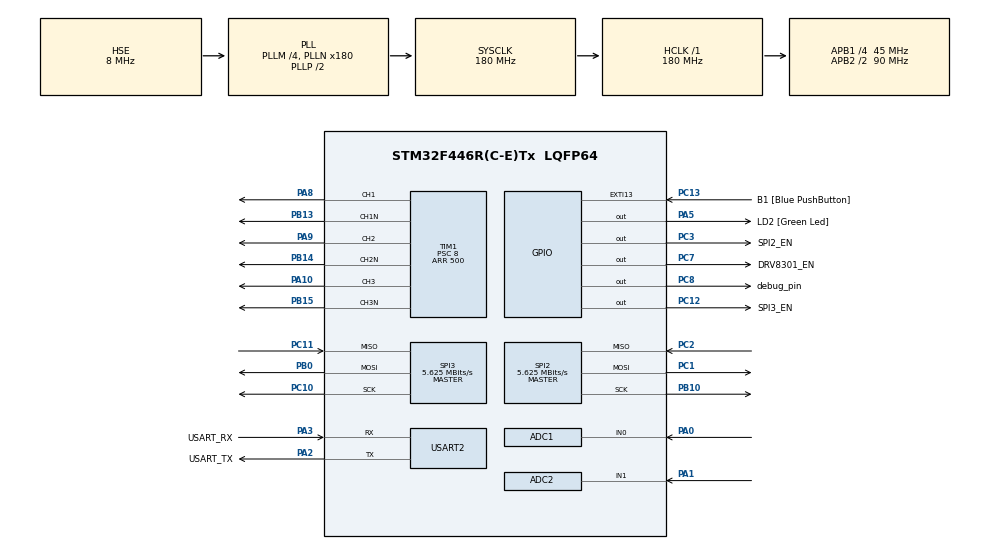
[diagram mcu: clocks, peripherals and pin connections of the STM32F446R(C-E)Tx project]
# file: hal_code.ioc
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ADC1.Channel-0\#ChannelRegularConversion=ADC_CHANNEL_0
ADC1.Mode=ADC_DUALMODE_REGSIMULT
ADC1.NbrOfConversionFlag=1
ADC1.Rank-0\#ChannelRegularConversion=1
ADC1.SamplingTime-0\#ChannelRegularConversion=ADC_SAMPLETIME_15CYCLES
ADC1.master=1
ADC2.Channel-0\#ChannelRegularConversion=ADC_CHANNEL_1
ADC2.Mode=ADC_DUALMODE_REGSIMULT
ADC2.NbrOfConversionFlag=1
ADC2.Rank-0\#ChannelRegularConversion=1
ADC2.SamplingTime-0\#ChannelRegularConversion=ADC_SAMPLETIME_15CYCLES
Mcu.Family=STM32F4
Mcu.Name=STM32F446R(C-E)Tx
Mcu.Package=LQFP64
NVIC.PriorityGroup=NVIC_PRIORITYGROUP_4
NVIC.TIM1_UP_TIM10_IRQn=true\:0\:0\:false\:false\:true\:true\:true
NVIC.TIM3_IRQn=true\:1\:0\:true\:false\:true\:true\:true
NVIC.USART2_IRQn=true\:3\:0\:true\:false\:true\:true\:true
PA0-WKUP.Signal=ADCx_IN0
PA1.Signal=ADCx_IN1
PA10.Signal=S_TIM1_CH3
PA13.GPIO_Label=TMS
PA13.Mode=Serial_Wire
PA13.Signal=SYS_JTMS-SWDIO
PA14.GPIO_Label=TCK
PA14.Mode=Serial_Wire
PA14.Signal=SYS_JTCK-SWCLK
PA2.GPIO_Label=USART_TX
PA2.Mode=Asynchronous
PA2.Signal=USART2_TX
PA3.GPIO_Label=USART_RX
PA3.Mode=Asynchronous
PA3.Signal=USART2_RX
PA5.GPIO_Label=LD2 [Green Led]
PA5.Signal=GPIO_Output
PA8.Signal=S_TIM1_CH1
PA9.Signal=S_TIM1_CH2
PB0.Mode=Full_Duplex_Master
PB0.Signal=SPI3_MOSI
PB10.Mode=Full_Duplex_Master
PB10.Signal=SPI2_SCK
PB13.Mode=PWM Generation1 CH1 CH1N
PB13.Signal=TIM1_CH1N
PB14.Mode=PWM Generation2 CH2 CH2N
PB14.Signal=TIM1_CH2N
PB15.Mode=PWM Generation3 CH3 CH3N
PB15.Signal=TIM1_CH3N
PB3.GPIO_Label=SWO
PB3.Signal=SYS_JTDO-SWO
PC1.Mode=Full_Duplex_Master
PC1.Signal=SPI2_MOSI
PC10.Mode=Full_Duplex_Master
PC10.Signal=SPI3_SCK
PC11.Mode=Full_Duplex_Master
PC11.Signal=SPI3_MISO
PC12.GPIO_Label=SPI3_EN
PC12.Signal=GPIO_Output
PC13.GPIO_Label=B1 [Blue PushButton]
PC13.GPIO_ModeDefaultEXTI=GPIO_MODE_IT_FALLING
PC13.Signal=GPXTI13
PC14-OSC32_IN.Mode=LSE-External-Oscillator
PC14-OSC32_IN.Signal=RCC_OSC32_IN
PC15-OSC32_OUT.Mode=LSE-External-Oscillator
PC15-OSC32_OUT.Signal=RCC_OSC32_OUT
PC2.Mode=Full_Duplex_Master
PC2.Signal=SPI2_MISO
PC3.GPIO_Label=SPI2_EN
PC3.Signal=GPIO_Output
PC7.GPIO_Label=DRV8301_EN
PC7.Signal=GPIO_Output
PC8.GPIO_Label=debug_pin
PC8.Signal=GPIO_Output
PH0-OSC_IN.Mode=HSE-External-Oscillator
PH0-OSC_IN.Signal=RCC_OSC_IN
PH1-OSC_OUT.Mode=HSE-External-Oscillator
PH1-OSC_OUT.Signal=RCC_OSC_OUT
ProjectManager.HeapSize=0x200
ProjectManager.StackSize=0x400
ProjectManager.TargetToolchain=Other Toolchains (GPDSC)
RCC.48MHZClocksFreq_Value=84000000
RCC.AHBFreq_Value=180000000
RCC.APB1CLKDivider=RCC_HCLK_DIV4
RCC.APB1Freq_Value=45000000
RCC.APB1TimFreq_Value=90000000
RCC.APB2CLKDivider=RCC_HCLK_DIV2
RCC.APB2Freq_Value=90000000
RCC.APB2TimFreq_Value=180000000
RCC.CortexFreq_Value=180000000
RCC.FLatency-AdvancedSettings=FLASH_LATENCY_5
RCC.HCLKFreq_Value=180000000
RCC.HSE_VALUE=8000000
RCC.HSI_VALUE=16000000
RCC.PLLM=4
RCC.PLLN=180
RCC.PLLSourceVirtual=RCC_PLLSOURCE_HSE
RCC.SYSCLKFreq_VALUE=180000000
RCC.SYSCLKSource=RCC_SYSCLKSOURCE_PLLCLK
RCC.USBFreq_Value=180000000
RCC.VCOOutputFreq_Value=360000000
SH.ADCx_IN0.0=ADC1_IN0,IN0
SH.ADCx_IN1.0=ADC2_IN1,IN1
SH.S_TIM1_CH1.0=TIM1_CH1,PWM Generation1 CH1 CH1N
SH.S_TIM1_CH2.0=TIM1_CH2,PWM Generation2 CH2 CH2N
SH.S_TIM1_CH3.0=TIM1_CH3,PWM Generation3 CH3 CH3N
SPI2.BaudRatePrescaler=SPI_BAUDRATEPRESCALER_8
SPI2.CLKPhase=SPI_PHASE_2EDGE
SPI2.CalculateBaudRate=5.625 MBits/s
SPI2.DataSize=SPI_DATASIZE_16BIT
SPI2.Direction=SPI_DIRECTION_2LINES
SPI2.Mode=SPI_MODE_MASTER
SPI2.VirtualType=VM_MASTER
SPI3.BaudRatePrescaler=SPI_BAUDRATEPRESCALER_8
SPI3.CLKPhase=SPI_PHASE_2EDGE
SPI3.CalculateBaudRate=5.625 MBits/s
SPI3.DataSize=SPI_DATASIZE_16BIT
SPI3.Direction=SPI_DIRECTION_2LINES
SPI3.Mode=SPI_MODE_MASTER
SPI3.VirtualType=VM_MASTER
TIM1.AutomaticOutput=TIM_AUTOMATICOUTPUT_DISABLE
TIM1.Channel-PWM\ Generation1\ CH1\ CH1N=TIM_CHANNEL_1
TIM1.Channel-PWM\ Generation2\ CH2\ CH2N=TIM_CHANNEL_2
TIM1.Channel-PWM\ Generation3\ CH3\ CH3N=TIM_CHANNEL_3
TIM1.CounterMode=TIM_COUNTERMODE_CENTERALIGNED2
TIM1.DeadTime=10
TIM1.LockLevel=TIM_LOCKLEVEL_OFF
TIM1.OCMode_PWM-PWM\ Generation1\ CH1\ CH1N=TIM_OCMODE_PWM2
TIM1.OCMode_PWM-PWM\ Generation2\ CH2\ CH2N=TIM_OCMODE_PWM2
TIM1.OCMode_PWM-PWM\ Generation3\ CH3\ CH3N=TIM_OCMODE_PWM2
TIM1.OCNPolarity_1=TIM_OCNPOLARITY_HIGH
TIM1.OCNPolarity_2=TIM_OCNPOLARITY_HIGH
TIM1.OCNPolarity_3=TIM_OCNPOLARITY_HIGH
TIM1.OCPolarity_1=TIM_OCPOLARITY_HIGH
TIM1.OCPolarity_2=TIM_OCPOLARITY_HIGH
TIM1.OCPolarity_3=TIM_OCPOLARITY_HIGH
TIM1.Period=500
TIM1.Prescaler=8
TIM1.RepetitionCounter=1
TIM2.Period=4294000000
TIM2.Prescaler=89
TIM3.Period=49
TIM3.Prescaler=89
USART2.VirtualMode=VM_ASYNC
VP_TIM1_VS_ClockSourceINT.Mode=Internal
VP_TIM2_VS_ClockSourceINT.Mode=Internal
VP_TIM3_VS_ClockSourceINT.Mode=Internal
board=NUCLEO-F446RE

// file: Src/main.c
/* USER CODE BEGIN Header */
/**
  ******************************************************************************
  * @file           : main.c
  * @brief          : Main program body
  ******************************************************************************
  * @attention
  *
  * <h2><center>&copy; Copyright (c) 2019 STMicroelectronics.
  * All rights reserved.</center></h2>
  *
  * This software component is licensed by ST under BSD 3-Clause license,
  * the "License"; You may not use this file except in compliance with the
  * License. You may obtain a copy of the License at:
  *                        opensource.org/licenses/BSD-3-Clause
  *
  ******************************************************************************
  */
/* USER CODE END Header */

#include "main.h"
#include "adc.h"
#include "spi.h"
#include "tim.h"
#include "usart.h"
#include "gpio.h"

/* USER CODE BEGIN Includes */
#include "string.h"
#include "stdio.h"
#include "coordinate_change.h"
#include "utils.h"
#include "as5048a.h"
#include "inverter.h"
#include "current_regulator.h"
#include "impedance_controller.h"

/* USER CODE END Includes */

void SystemClock_Config(void);

int main(void)
{
	/* USER CODE BEGIN 1 */
	//for debug
	char msg[64];
	uint32_t s_total_time = 0;
	uint32_t s_counter = 0;
	uint32_t s_pre_counter = 0;
	uint32_t s_post_counter = 0;
	uint32_t sleep_counter = 0;
	uint32_t s_error_counter = 0;

	/* USER CODE END 1 */

	/* MCU Configuration--------------------------------------------------------*/

	/* Reset of all peripherals, Initializes the Flash interface and the Systick. */
	HAL_Init();

	/* Configure the system clock */
	SystemClock_Config();

	/* Initialize all configured peripherals */
	MX_GPIO_Init();
	MX_USART2_UART_Init();
	MX_ADC1_Init();
	MX_ADC2_Init();
	MX_SPI2_Init();
	MX_SPI3_Init();
	MX_TIM1_Init();
	MX_TIM2_Init();
	MX_TIM3_Init();
	/* USER CODE BEGIN 2 */
	//init as5048a commuation
	as5048a_setup(&hspi2, SPI2_EN_GPIO_Port, SPI2_EN_Pin);
	//for data init
	as5048a_read_two();
	svpwm_setup(22.2f, PWM_INTERVAL);
	set_us_delay(&htim2);

	inverter_setup(&htim1, &hspi3, SPI3_EN_GPIO_Port, SPI3_EN_Pin);
	inverter_set_pwm_percentage(0.03f, 0.0f, 0.0f);
	HAL_Delay(2000);
	inverter_init(&hadc1, &hadc2, DRV8301_EN_GPIO_Port, DRV8301_EN_Pin, PWM_INTERVAL);

	impedance_controller_setup(0.01, 0.001f, 0.1071, PWM_INTERVAL);

	current_regulator_setup(0.2046f, 0.1535f);
	current_regulator_init();

	//for counter
	HAL_TIM_Base_Start(&htim2);

	HAL_TIM_Base_Start_IT(&htim1);
	HAL_Delay(2000);
	encoder_setup(21.0f);
	//HAL_TIM_Base_Start_IT(&htim3);

  /* USER CODE END 2 */

  /* Infinite loop */
	while(1)
	{

		/* USER CODE BEGIN 3 */

						/*s_pre_counter = __HAL_TIM_GET_COUNTER(&htim2);
						as5048a_read();
						s_post_counter = __HAL_TIM_GET_COUNTER(&htim2);
						s_total_time += (s_post_counter - s_pre_counter);
						++s_counter;
						if (falut_status != 0){
							++s_error_counter;
				}
				delay_us(45);
				if (s_counter == 10000){
					sprintf(msg, "time: %lf - %f - %d \r\n", (s_total_time / 10000.0f), position_val, s_error_counter);
					HAL_UART_Transmit(&huart2, (uint8_t*) msg, strlen(msg), HAL_MAX_DELAY);
					s_total_time = 0;
					s_counter = 0;
					s_error_counter = 0;
			}*/
			/*so_1_voltage = ((float)so_1_raw_val) / 4095.0f * 3.3f;
			so_2_voltage = ((float)so_2_raw_val) / 4095.0f * 3.3f;
			as5048a_read();
			sprintf(msg, "%f --- %f --- %f\r\n", so_1_voltage, so_2_voltage, position_val);
			HAL_UART_Transmit(&huart2, (uint8_t*) msg, strlen(msg), HAL_MAX_DELAY);
			HAL_Delay(1000);*/

			/*s_pre_counter = __HAL_TIM_GET_COUNTER(&htim2);
			IC_running(3.14159265359f);
			s_post_counter = __HAL_TIM_GET_COUNTER(&htim2);
			s_total_time += (s_post_counter - s_pre_counter);
			++s_counter;
			if (s_counter == 10000) {
				sprintf(msg, "time: %f \r\n", (s_total_time / 10000.0f));
				HAL_UART_Transmit(&huart2, (uint8_t*) msg, strlen(msg), HAL_MAX_DELAY);
				s_total_time = 0;
				s_counter = 0;
				s_error_counter = 0;
		}*/
		/*read_drv8301_state();
		sprintf(msg, "%x \r\n", response_status_drv);
		HAL_UART_Transmit(&huart2, (uint8_t*) msg, strlen(msg), HAL_MAX_DELAY);
		HAL_Delay(1000);*/
		sprintf(msg, "%f %f %f \r\n", joint_position_val, v_alpha_, v_beta_);
		HAL_UART_Transmit(&huart2, (uint8_t*) msg, strlen(msg), HAL_MAX_DELAY);
		HAL_Delay(100);
	}
	/* USER CODE END 3 */
}

void SystemClock_Config(void)
{
	RCC_OscInitTypeDef RCC_OscInitStruct = { 0 };
	RCC_ClkInitTypeDef RCC_ClkInitStruct = { 0 };

	/** Configure the main internal regulator output voltage
	*/
	__HAL_RCC_PWR_CLK_ENABLE();
	__HAL_PWR_VOLTAGESCALING_CONFIG(PWR_REGULATOR_VOLTAGE_SCALE1);
	/** Initializes the CPU, AHB and APB busses clocks
	*/
	RCC_OscInitStruct.OscillatorType = RCC_OSCILLATORTYPE_HSE;
	RCC_OscInitStruct.HSEState = RCC_HSE_ON;
	RCC_OscInitStruct.PLL.PLLState = RCC_PLL_ON;
	RCC_OscInitStruct.PLL.PLLSource = RCC_PLLSOURCE_HSE;
	RCC_OscInitStruct.PLL.PLLM = 4;
	RCC_OscInitStruct.PLL.PLLN = 180;
	RCC_OscInitStruct.PLL.PLLP = RCC_PLLP_DIV2;
	RCC_OscInitStruct.PLL.PLLQ = 2;
	RCC_OscInitStruct.PLL.PLLR = 2;
	if (HAL_RCC_OscConfig(&RCC_OscInitStruct) != HAL_OK)
	{
		Error_Handler();
	}
	/** Activate the Over-Drive mode
	 */
	if (HAL_PWREx_EnableOverDrive() != HAL_OK)
	{
		Error_Handler();
	}
	/** Initializes the CPU, AHB and APB busses clocks
	*/
	RCC_ClkInitStruct.ClockType = RCC_CLOCKTYPE_HCLK | RCC_CLOCKTYPE_SYSCLK
	                            | RCC_CLOCKTYPE_PCLK1 | RCC_CLOCKTYPE_PCLK2;
	RCC_ClkInitStruct.SYSCLKSource = RCC_SYSCLKSOURCE_PLLCLK;
	RCC_ClkInitStruct.AHBCLKDivider = RCC_SYSCLK_DIV1;
	RCC_ClkInitStruct.APB1CLKDivider = RCC_HCLK_DIV4;
	RCC_ClkInitStruct.APB2CLKDivider = RCC_HCLK_DIV2;

	if (HAL_RCC_ClockConfig(&RCC_ClkInitStruct, FLASH_LATENCY_5) != HAL_OK)
	{
		Error_Handler();
	}
}

/* USER CODE BEGIN 4 */
void TIM1_UP_TIM10_IRQHandler(void)
{
	if (TIM1->SR & TIM_SR_UIF) {
		inverter_sample_current();
		IC_running(0.2f);
	}
	TIM1->SR = 0x0;
}

void TIM3_IRQHandler(void)
{
	if (TIM3->SR) {
		//debug_pin_GPIO_Port->ODR ^= debug_pin_Pin;
		//IC_running(0.2f);
		//debug_pin_GPIO_Port->ODR ^= debug_pin_Pin;
	}
	TIM3->SR = 0x0;

}
/* USER CODE END 4 */

void Error_Handler(void)
{
}

/************************ (C) COPYRIGHT STMicroelectronics *****END OF FILE****/
